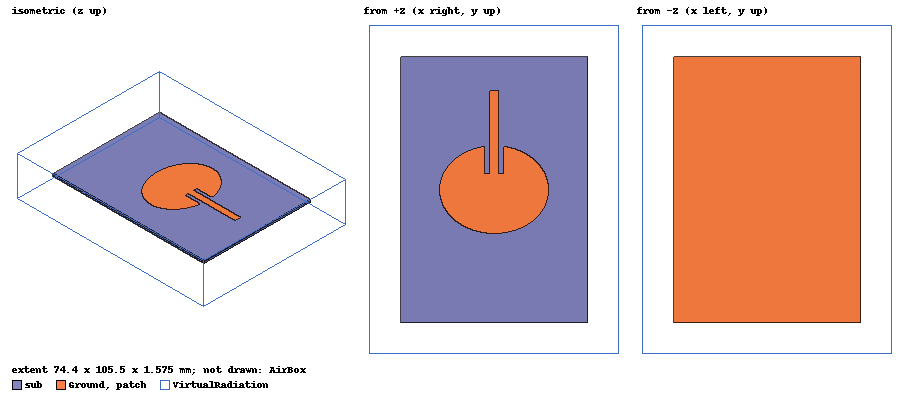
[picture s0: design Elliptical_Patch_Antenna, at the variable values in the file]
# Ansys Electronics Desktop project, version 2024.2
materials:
  vacuum: permittivity=1
  Rogers_ADK: permittivity=3 dielectric_loss_tangent=0.0009
  pec: conductivity=1e+30
  air: permittivity=1.0006 permeability=1.0000004

design Elliptical_Patch_Antenna (HFSS, HFSS Hybrid Terminal Network, model units mm)
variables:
  # --Patch Dimensions
  patchX = 43.29mm
  patchY = 34.82mm
  # --Substrate Dimensions
  subH = 62mil
  subX = 74.4mm
  subY = 105.49mm
  # --Feed
  InsetDistance = 11.05mm
  InsetGap = 1.979mm
  FeedWidth = 3.959mm
  FeedLength = 32.823mm
  # --Air Box
  Airbox_dist = 40.7881mm
  # --Virtual Object Radiation Surface
  VirtualObject_dist = 12.2364mm
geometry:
  sub [Rogers_ADK] = box(corner=(-subX/2, -subY/2, 0mm), size=(subX, subY, subH))
  Ground [pec] = rectangle(corner=(-subX/2, -subY/2, 0mm), x_size=subX, y_size=subY)
  patch [pec] = ellipse(normal=Z, centre=(0mm, 0mm, subH), major_radius=patchX/2, ratio=patchY/patchX)
  cutout = rectangle(corner=(-FeedWidth/2-InsetGap, patchY/2-InsetDistance, subH), x_size=FeedWidth+2*InsetGap, y_size=FeedLength)
  patch.subtract(cutout)
  Feed = rectangle(corner=(-FeedWidth/2, patchY/2-InsetDistance, subH), x_size=FeedWidth, y_size=FeedLength)
  patch.unite(Feed)
  port1 [air] = rectangle(corner=(-FeedWidth/2, patchY/2-InsetDistance+FeedLength, 0), z_size=subH, x_size=FeedWidth)
  AirBox [air] = box(corner=(-subX/2 - Airbox_dist, -subY/2 - Airbox_dist, -subH - Airbox_dist), size=(abs(-subX/2-subX/2) + 2*Airbox_dist, abs(-subY/2-subY/2) + 2*Airbox_dist, abs(-subH-subH) + 2*Airbox_dist))
  VirtualRadiation [air] = box(corner=(-subX/2 - VirtualObject_dist, -subY/2 - VirtualObject_dist, -subH - VirtualObject_dist), size=(abs(-subX/2-subX/2) + 2*VirtualObject_dist, abs(-subY/2-subY/2) + 2*VirtualObject_dist, abs(-subH-subH) + 2*VirtualObject_dist))
  list radFaces = VirtualRadiation.face(all 6)
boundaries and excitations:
  Ground: Perfect E Objects=Ground
  Patch: Perfect E Objects=patch
  Rad: Radiation Objects=AirBox
  patch_T1: Terminal port=1 Edges=patch.edge(at (0, 39.183, 1.5748)) TerminalResistance=50ohm
  1: Lumped Port Faces=port1.face LumpedPortType=Terminal Impedance=50ohm
  reference conductors: Ground
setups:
  Setup1: HfssDriven Frequency=2.4GHz MaxDeltaS=0.02 MaximumPasses=6 MinimumPasses=1 MinimumConvergedPasses=1 PercentRefinement=30 BasisOrder=1 PortAccuracy=2 DrivenSolverType="Direct Solver"
    sweep Sweep: 0Hz to 1Hz, 1 points; 1Hz to 100MHz, log, 20 per decade; 100MHz to 1GHz step 10MHz; 1GHz to 8GHz step 10MHz; Type=Interpolating SaveFields SaveRadFields InterpTolerance=0.5 InterpMaxSolns=250 MinSolvedFreq=0.01GHz PassivityErrorTolerance=0.0001
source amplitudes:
  1:1: 1V 0deg
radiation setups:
  infSphere: Infinite Sphere Theta=-180deg..180deg step 2deg Phi=0deg..180deg step 5deg CustomRadiationSurface=radFaces
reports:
  Terminal S Parameter Plot 1: dB(St(patch_T1,patch_T1)) vs Freq on Setup1 : Sweep
  Terminal S Parameter Plot 2: dB(St(patch_T1,patch_T1)) vs Freq on Setup1 : Sweep
  ff_3D_GainTotal: dB(GainTotal) vs Phi, Theta on Setup1 : LastAdaptive, infSphere
  ff_2D_GainTotal: dB(GainTotal) vs Theta on Setup1 : LastAdaptive, infSphere [Phi=0deg]; dB(GainTotal) vs Theta on Setup1 : LastAdaptive, infSphere [Phi=90deg]
